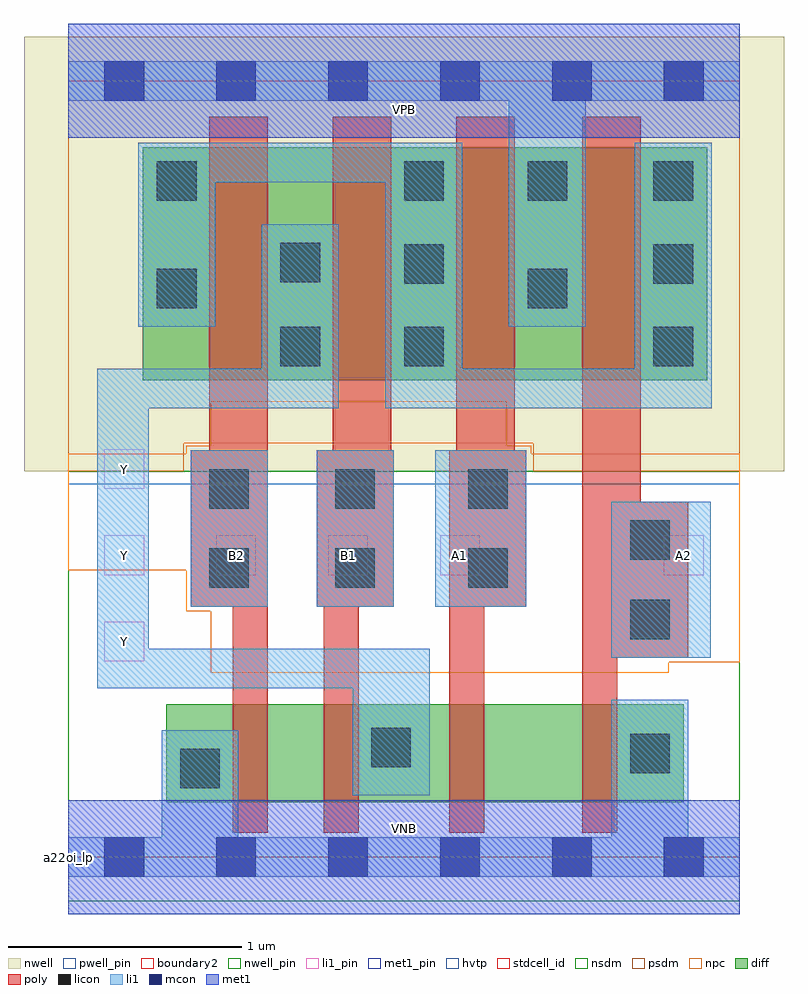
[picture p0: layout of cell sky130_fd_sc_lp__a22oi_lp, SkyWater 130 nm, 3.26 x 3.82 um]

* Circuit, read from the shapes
.subckt sky130_fd_sc_lp__a22oi_lp A1 A2 B1 B2 VGND VNB VPB VPWR Y
XM1 n1 B2 VGND VNB sky130_fd_pr__nfet_01v8 w=0.42 l=0.15
XM2 Y B1 n1 VNB sky130_fd_pr__nfet_01v8 w=0.42 l=0.15
XM3 n2 A1 Y VNB sky130_fd_pr__nfet_01v8 w=0.42 l=0.15
XM4 VGND A2 n2 VNB sky130_fd_pr__nfet_01v8 w=0.42 l=0.15
XM5 Y B2 n3 VPB sky130_fd_pr__pfet_01v8_hvt w=1 l=0.25
XM6 n3 B1 Y VPB sky130_fd_pr__pfet_01v8_hvt w=1 l=0.25
XM7 VPWR A1 n3 VPB sky130_fd_pr__pfet_01v8_hvt w=1 l=0.25
XM8 n3 A2 VPWR VPB sky130_fd_pr__pfet_01v8_hvt w=1 l=0.25
.ends

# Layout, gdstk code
import gdstk
lib = gdstk.Library(unit=1e-6, precision=1e-09)
def R(c, l, rs):  # rectangles x0, y0, x1, y1
    for r in rs: c.add(gdstk.rectangle(r[:2], r[2:], *l))
def A(c, l, x, y, w, h, nx, ny, dx, dy):  # array of equal rectangles
    R(c, l, [(x+i*dx, y+j*dy, x+i*dx+w, y+j*dy+h) for i in range(nx) for j in range(ny)])
def P(c, l, *ps):  # polygons
    for p in ps: c.add(gdstk.Polygon(p, *l))
nwell_pin = (64, 16)
nwell = (64, 20)
diff = (65, 20)
poly = (66, 20)
licon = (66, 44)
li1_pin = (67, 16)
li1 = (67, 20)
mcon = (67, 44)
met1_pin = (68, 16)
met1 = (68, 20)
hvtp = (78, 44)
stdcell_id = (81, 4)
nsdm = (93, 44)
psdm = (94, 20)
npc = (95, 20)
pwell_pin = (122, 16)
boundary2 = (236, 0)

sky130_fd_sc_lp__a22oi_l = lib.new_cell('sky130_fd_sc_lp__a22oi_lp')
R(sky130_fd_sc_lp__a22oi_l, nwell_pin, [(0,3.085,2.88,3.33)])
R(sky130_fd_sc_lp__a22oi_l, nwell, [(-0.19,1.655,3.07,3.52)])
R(sky130_fd_sc_lp__a22oi_l, diff, [(0.42,0.235,2.64,0.655), (0.32,2.045,2.74,3.045)])
P(sky130_fd_sc_lp__a22oi_l, poly, [(0.855,3.175),(0.605,3.175),(0.605,1.745),(0.525,1.745),(0.525,1.075),(0.705,1.075),(0.705,0.105),(0.855,0.105)],
  [(1.395,1.745),(1.385,1.745),(1.385,3.175),(1.135,3.175),(1.135,1.745),(1.065,1.745),(1.065,1.075),(1.095,1.075),(1.095,0.105),(1.245,0.105),(1.245,1.075),(1.395,1.075)],
  [(1.965,1.745),(1.915,1.745),(1.915,3.175),(1.665,3.175),(1.665,1.745),(1.635,1.745),(1.635,0.105),(1.785,0.105),(1.785,1.075),(1.965,1.075)],
  [(2.66,1.525),(2.455,1.525),(2.455,3.175),(2.205,3.175),(2.205,0.105),(2.355,0.105),(2.355,0.855),(2.66,0.855)])
A(sky130_fd_sc_lp__a22oi_l, licon, 1.44, 2.105, 0.17, 0.17, 1, 3, 0, 0.355)
A(sky130_fd_sc_lp__a22oi_l, licon, 2.51, 2.105, 0.17, 0.17, 1, 3, 0, 0.355)
R(sky130_fd_sc_lp__a22oi_l, licon, [(0.48,0.295,0.65,0.465), (2.41,0.36,2.58,0.53), (1.3,0.385,1.47,0.555), (2.41,0.935,2.58,1.105), (0.605,1.155,0.775,1.325), (1.145,1.155,1.315,1.325), (1.715,1.155,1.885,1.325), (2.41,1.275,2.58,1.445), (0.605,1.495,0.775,1.665), (1.145,1.495,1.315,1.665), (1.715,1.495,1.885,1.665), (0.91,2.105,1.08,2.275), (0.38,2.355,0.55,2.525), (1.97,2.355,2.14,2.525), (0.91,2.465,1.08,2.635), (0.38,2.815,0.55,2.985), (1.97,2.815,2.14,2.985)])
A(sky130_fd_sc_lp__a22oi_l, li1_pin, 0.155, 1.21, 0.17, 0.17, 4, 1, 0.48, 0)
R(sky130_fd_sc_lp__a22oi_l, li1_pin, [(0.155,0.84,0.325,1.01), (2.555,1.21,2.725,1.38), (0.155,1.58,0.325,1.75)])
R(sky130_fd_sc_lp__a22oi_l, li1, [(2.33,0.855,2.755,1.525), (0.525,1.075,0.855,1.745), (1.065,1.075,1.395,1.745), (1.575,1.075,1.965,1.745)])
P(sky130_fd_sc_lp__a22oi_l, li1, [(1.89,2.275),(1.89,3.245),(0,3.245),(0,3.415),(2.88,3.415),(2.88,3.245),(2.22,3.245),(2.22,2.275)],
  [(2.33,0.085),(2.33,0.675),(2.66,0.675),(2.66,0.085),(2.88,0.085),(2.88,-0.085),(0,-0.085),(0,0.085),(0.4,0.085),(0.4,0.545),(0.73,0.545),(0.73,0.085)],
  [(1.36,1.925),(1.36,2.895),(0.63,2.895),(0.63,2.275),(0.3,2.275),(0.3,3.065),(1.69,3.065),(1.69,2.095),(2.43,2.095),(2.43,3.065),(2.76,3.065),(2.76,1.925)],
  [(0.125,0.725),(0.125,2.095),(0.83,2.095),(0.83,2.715),(1.16,2.715),(1.16,1.925),(0.345,1.925),(0.345,0.895),(1.55,0.895),(1.55,0.265),(1.22,0.265),(1.22,0.725)])
A(sky130_fd_sc_lp__a22oi_l, mcon, 0.155, -0.085, 0.17, 0.17, 6, 2, 0.48, 3.33)
R(sky130_fd_sc_lp__a22oi_l, met1_pin, [(0,0,2.88,0.245), (0,3.085,2.88,3.33)])
R(sky130_fd_sc_lp__a22oi_l, met1, [(0,-0.245,2.88,0.245), (0,3.085,2.88,3.575)])
R(sky130_fd_sc_lp__a22oi_l, hvtp, [(0,1.6,2.88,3.33)])
R(sky130_fd_sc_lp__a22oi_l, stdcell_id, [(0,0,2.88,3.33)])
R(sky130_fd_sc_lp__a22oi_l, nsdm, [(0,-0.19,2.88,1.655)])
P(sky130_fd_sc_lp__a22oi_l, psdm, [(2.88,3.52),(0,3.52),(0,1.655),(0.495,1.655),(0.495,1.775),(1.995,1.775),(1.995,1.655),(2.88,1.655)])
P(sky130_fd_sc_lp__a22oi_l, npc, [(2.88,1.73),(1.985,1.73),(1.985,1.765),(1.88,1.765),(1.88,1.955),(0.61,1.955),(0.61,1.765),(0.505,1.765),(0.505,1.73),(0,1.73),(0,1.23),(0.505,1.23),(0.505,1.055),(0.61,1.055),(0.61,0.79),(2.575,0.79),(2.575,0.835),(2.88,0.835)])
R(sky130_fd_sc_lp__a22oi_l, pwell_pin, [(0,0,2.88,0.245)])
R(sky130_fd_sc_lp__a22oi_l, boundary2, [(0,0,2.88,3.33)])
sky130_fd_sc_lp__a22oi_l.add(gdstk.Label('VNB', (1.44,0.123), layer=64, texttype=59))
sky130_fd_sc_lp__a22oi_l.add(gdstk.Label('VPB', (1.44,3.208), layer=64, texttype=5))
sky130_fd_sc_lp__a22oi_l.add(gdstk.Label('a22oi_lp', (0,0), layer=83, texttype=44))
sky130_fd_sc_lp__a22oi_l.add(gdstk.Label('VPWR', (1.44,3.208), layer=68, texttype=5))
sky130_fd_sc_lp__a22oi_l.add(gdstk.Label('VGND', (1.44,0.123), layer=68, texttype=5))
sky130_fd_sc_lp__a22oi_l.add(gdstk.Label('B2', (0.72,1.295), layer=67, texttype=5))
sky130_fd_sc_lp__a22oi_l.add(gdstk.Label('A2', (2.64,1.295), layer=67, texttype=5))
sky130_fd_sc_lp__a22oi_l.add(gdstk.Label('A1', (1.68,1.295), layer=67, texttype=5))
sky130_fd_sc_lp__a22oi_l.add(gdstk.Label('B1', (1.2,1.295), layer=67, texttype=5))
sky130_fd_sc_lp__a22oi_l.add(gdstk.Label('Y', (0.24,0.925), layer=67, texttype=5))
sky130_fd_sc_lp__a22oi_l.add(gdstk.Label('Y', (0.24,1.295), layer=67, texttype=5))
sky130_fd_sc_lp__a22oi_l.add(gdstk.Label('Y', (0.24,1.665), layer=67, texttype=5))

lib.write_gds('sky130_fd_sc_lp__a22oi_lp.gds')
